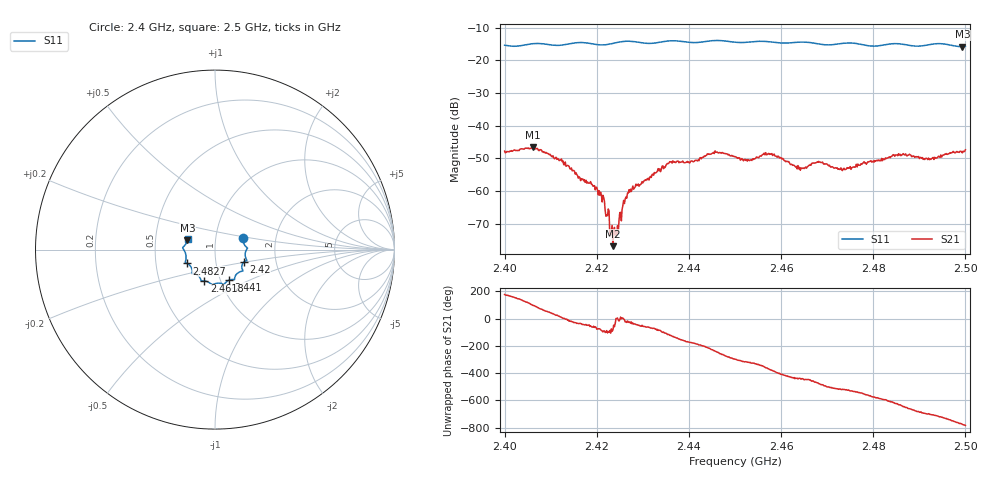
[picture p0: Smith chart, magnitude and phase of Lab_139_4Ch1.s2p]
# Hz S RI R 50
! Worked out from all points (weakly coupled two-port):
!   601 points, 2.4 GHz to 2.5 GHz, reference 50 ohm
!   highest |S21| = -46.55 dB at 2.4062 GHz (marker M1); lowest = -76.9 dB at 2.4235 GHz (marker M2)
!   lowest |S11| = -15.8 dB at 2.4993 GHz (marker M3), VSWR 1.39, Z = 36.5 + j3.84 ohm
!   |S11| at or under -10 dB: start of sweep to end of sweep
!   S12 and S22 are empty: the file has one direction only
!   S11 on the Smith chart (normalised r, x): 2.4 GHz: 1.36, +0.18; 2.42 GHz: 1.36, -0.20; 2.441 GHz: 1.10, -0.39; 2.4618 GHz: 0.84, -0.30; 2.4827 GHz: 0.72, -0.11; 2.5 GHz: 0.73, +0.09
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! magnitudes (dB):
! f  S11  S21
! 2.4 GHz  -15.4  -47.8
! 2.4062 GHz  -14.9  -46.5
! 2.4122 GHz  -15.4  -50.5
! 2.4167 GHz  -14.5  -56.2
! 2.42 GHz  -15.2  -58.9
! 2.4212 GHz  -15.3  -63.4
! 2.4235 GHz  -14.8  -76.9
! 2.4243 GHz  -14.5  -73.5
! 2.4262 GHz  -14.2  -62.5
! 2.4272 GHz  -14.2  -60.4
! 2.4333 GHz  -14.5  -53.2
! 2.441 GHz  -14.6  -51.1
! 2.4457 GHz  -13.9  -47.7
! 2.45 GHz  -14.4  -49.5
! 2.4575 GHz  -14.3  -48.8
! 2.4618 GHz  -14.6  -51.5
! 2.4667 GHz  -14.6  -51.5
! 2.4737 GHz  -14.8  -53.1
! 2.4827 GHz  -15.2  -49.9
! 2.4833 GHz  -15.0  -49.8
! 2.4993 GHz  -15.8  -48.3
! 2.5 GHz  -15.7  -47.4
